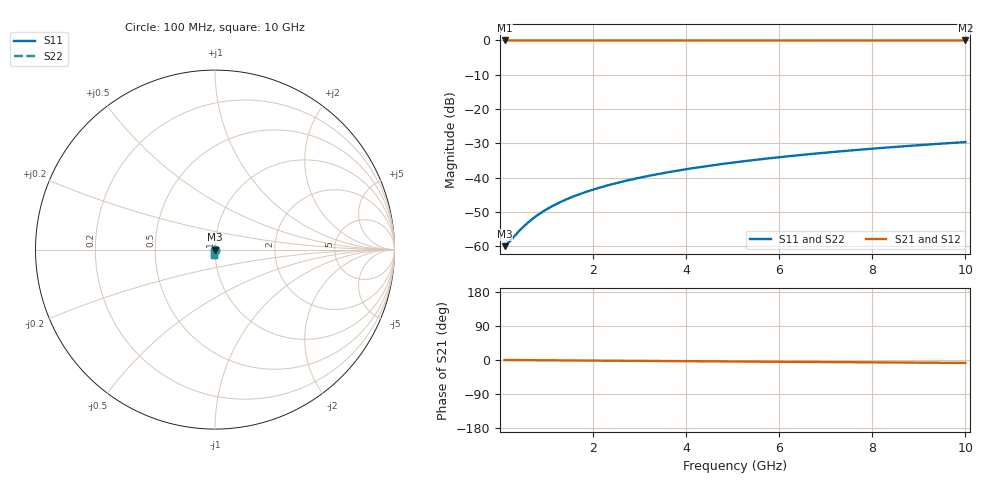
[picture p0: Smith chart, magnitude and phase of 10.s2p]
# Hz S RI R 50.00
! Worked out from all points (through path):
!   100 points, 100 MHz to 10 GHz, reference 50 ohm
!   highest |S21| = -0.01 dB at 100 MHz (marker M1); lowest = 0.0 dB at 10 GHz (marker M2)
!   group delay of S21, straight-line fit = 2.15 ps
!   lowest |S11| = -60.0 dB at 100 MHz (marker M3), VSWR 1.00, Z = 50.1 - j0.0332 ohm
!   |S11| at or under -10 dB: start of sweep to end of sweep
!   |S22| runs from -60.0 to -29.6 dB; largest |S21 - S12| = 0
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1e8  0.000943 -0.000331  0.9991 -0.00135  0.9991 -0.00135  0.000943 -0.000331
2e8  0.000947 -0.000662  0.999 -0.0027  0.999 -0.0027  0.000947 -0.000662
4e8  0.000949 -0.00132  0.999 -0.00541  0.999 -0.00541  0.000949 -0.00132
5e8  0.000947 -0.00166  0.999 -0.00676  0.999 -0.00676  0.000947 -0.00166
6e8  0.000944 -0.00199  0.999 -0.00811  0.999 -0.00811  0.000944 -0.00199
7e8  0.00094 -0.00232  0.999 -0.00946  0.999 -0.00946  0.00094 -0.00232
8e8  0.000935 -0.00265  0.999 -0.0108  0.999 -0.0108  0.000935 -0.00265
1e9  0.000922 -0.00331  0.9989 -0.0135  0.9989 -0.0135  0.000922 -0.00331
1.2e9  0.000905 -0.00397  0.9989 -0.0162  0.9989 -0.0162  0.000905 -0.00397
1.5e9  0.000872 -0.00497  0.9988 -0.0203  0.9988 -0.0203  0.000872 -0.00497
1.8e9  0.00083 -0.00596  0.9987 -0.0243  0.9987 -0.0243  0.00083 -0.00596
2.1e9  0.00078 -0.00695  0.9986 -0.0284  0.9986 -0.0284  0.00078 -0.00695
2.5e9  0.0007 -0.00827  0.9984 -0.0338  0.9984 -0.0338  0.0007 -0.00827
2.9e9  0.000605 -0.0096  0.9982 -0.0392  0.9982 -0.0392  0.000605 -0.0096
3.4e9  0.000467 -0.0112  0.9978 -0.0459  0.9978 -0.0459  0.000467 -0.0112
4.2e9  0.000199 -0.0139  0.9972 -0.0567  0.9972 -0.0567  0.000199 -0.0139
5.1e9  -0.000172 -0.0168  0.9964 -0.0689  0.9964 -0.0689  -0.000172 -0.0168
5.9e9  -0.000562 -0.0195  0.9955 -0.0797  0.9955 -0.0797  -0.000562 -0.0195
6.7e9  -0.00101 -0.0221  0.9945 -0.0904  0.9945 -0.0904  -0.00101 -0.0221
7.5e9  -0.00151 -0.0247  0.9934 -0.1012  0.9934 -0.1012  -0.00151 -0.0247
8.4e9  -0.00215 -0.0276  0.992 -0.1133  0.992 -0.1133  -0.00215 -0.0276
1e10  -0.00345 -0.0328  0.9891 -0.1347  0.9891 -0.1347  -0.00345 -0.0328
